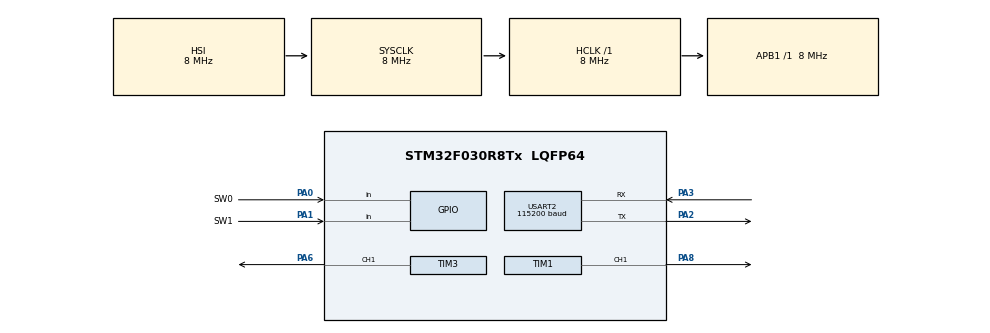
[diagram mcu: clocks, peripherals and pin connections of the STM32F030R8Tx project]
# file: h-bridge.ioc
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Mcu.Family=STM32F0
Mcu.Name=STM32F030R8Tx
Mcu.Package=LQFP64
PA0.GPIO_Label=SW0
PA0.GPIO_PuPd=GPIO_PULLDOWN
PA0.Signal=GPIO_Input
PA1.GPIO_Label=SW1
PA1.GPIO_PuPd=GPIO_PULLDOWN
PA1.Signal=GPIO_Input
PA2.Mode=Asynchronous
PA2.Signal=USART2_TX
PA3.Mode=Asynchronous
PA3.Signal=USART2_RX
PA6.Signal=S_TIM3_CH1
PA8.Signal=S_TIM1_CH1
ProjectManager.HeapSize=0x200
ProjectManager.StackSize=0x400
ProjectManager.TargetToolchain=STM32CubeIDE
RCC.AHBFreq_Value=8000000
RCC.APB1Freq_Value=8000000
RCC.APB1TimFreq_Value=8000000
RCC.HCLKFreq_Value=8000000
RCC.SYSCLKFreq_VALUE=8000000
SH.S_TIM1_CH1.0=TIM1_CH1,PWM Generation1 CH1
SH.S_TIM3_CH1.0=TIM3_CH1,PWM Generation1 CH1
TIM1.Channel-PWM\ Generation1\ CH1=TIM_CHANNEL_1
TIM1.Period=255
TIM1.Pulse-PWM\ Generation1\ CH1=0
TIM3.AutoReloadPreload=TIM_AUTORELOAD_PRELOAD_DISABLE
TIM3.Channel-PWM\ Generation1\ CH1=TIM_CHANNEL_1
TIM3.Channel-PWM\ Generation3\ CH3=TIM_CHANNEL_3
TIM3.Period=255
TIM3.Prescaler=0
TIM3.Pulse-PWM\ Generation1\ CH1=0
USART2.BaudRate=115200
USART2.VirtualMode-Asynchronous=VM_ASYNC
VP_TIM1_VS_ClockSourceINT.Mode=Internal
VP_TIM3_VS_ClockSourceINT.Mode=Internal
board=custom

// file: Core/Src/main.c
/* USER CODE BEGIN Header */
/**
  ******************************************************************************
  * @file           : main.c
  * @brief          : Main program body
  ******************************************************************************
  * @attention
  *
  * Copyright (c) 2023 STMicroelectronics.
  * All rights reserved.
  *
  * This software is licensed under terms that can be found in the LICENSE file
  * in the root directory of this software component.
  * If no LICENSE file comes with this software, it is provided AS-IS.
  *
  ******************************************************************************
  */
/* USER CODE END Header */
#include "main.h"

/* USER CODE BEGIN Includes */
#include <stdio.h>
#include "math.h"
/* USER CODE END Includes */

TIM_HandleTypeDef htim1;
TIM_HandleTypeDef htim3;

UART_HandleTypeDef huart2;

void SystemClock_Config(void);
static void MX_GPIO_Init(void);
static void MX_TIM3_Init(void);
static void MX_USART2_UART_Init(void);
static void MX_TIM1_Init(void);

int main(void)
{
  /* USER CODE BEGIN 1 */
  setbuf(stdout, NULL);
  /* USER CODE END 1 */

  /* MCU Configuration--------------------------------------------------------*/

  /* Reset of all peripherals, Initializes the Flash interface and the Systick. */
  HAL_Init();

  /* Configure the system clock */
  SystemClock_Config();

  /* Initialize all configured peripherals */
  MX_GPIO_Init();
  MX_TIM3_Init();
  MX_USART2_UART_Init();
  MX_TIM1_Init();
  /* USER CODE BEGIN 2 */
  HAL_TIM_PWM_Start(&htim1, TIM_CHANNEL_1);
  HAL_TIM_PWM_Start(&htim3, TIM_CHANNEL_1);
  /* USER CODE END 2 */

  /* Infinite loop */
  /* USER CODE BEGIN WHILE */
  while (1)
  {
	uint8_t button_state0 = HAL_GPIO_ReadPin(SW0_GPIO_Port,SW0_Pin);
	uint8_t button_state1 = HAL_GPIO_ReadPin(SW1_GPIO_Port,SW1_Pin);

	if (button_state0 == 1) {
		__HAL_TIM_SET_COMPARE(&htim1, TIM_CHANNEL_1, 255);
	} else {
		__HAL_TIM_SET_COMPARE(&htim1, TIM_CHANNEL_1, 0);
	}

	if (button_state1 == 1) {
		__HAL_TIM_SET_COMPARE(&htim3, TIM_CHANNEL_1, 255);
	} else {
		__HAL_TIM_SET_COMPARE(&htim3, TIM_CHANNEL_1, 0);
	}
    /* USER CODE END WHILE */

  }
}

void SystemClock_Config(void)
{
  RCC_OscInitTypeDef RCC_OscInitStruct = {0};
  RCC_ClkInitTypeDef RCC_ClkInitStruct = {0};

  /** Initializes the RCC Oscillators according to the specified parameters
  * in the RCC_OscInitTypeDef structure.
  */
  RCC_OscInitStruct.OscillatorType = RCC_OSCILLATORTYPE_HSI;
  RCC_OscInitStruct.HSIState = RCC_HSI_ON;
  RCC_OscInitStruct.HSICalibrationValue = RCC_HSICALIBRATION_DEFAULT;
  RCC_OscInitStruct.PLL.PLLState = RCC_PLL_NONE;
  if (HAL_RCC_OscConfig(&RCC_OscInitStruct) != HAL_OK)
  {
    Error_Handler();
  }

  /** Initializes the CPU, AHB and APB buses clocks
  */
  RCC_ClkInitStruct.ClockType = RCC_CLOCKTYPE_HCLK|RCC_CLOCKTYPE_SYSCLK
                              |RCC_CLOCKTYPE_PCLK1;
  RCC_ClkInitStruct.SYSCLKSource = RCC_SYSCLKSOURCE_HSI;
  RCC_ClkInitStruct.AHBCLKDivider = RCC_SYSCLK_DIV1;
  RCC_ClkInitStruct.APB1CLKDivider = RCC_HCLK_DIV1;

  if (HAL_RCC_ClockConfig(&RCC_ClkInitStruct, FLASH_LATENCY_0) != HAL_OK)
  {
    Error_Handler();
  }
}

static void MX_TIM1_Init(void)
{

  TIM_ClockConfigTypeDef sClockSourceConfig = {0};
  TIM_MasterConfigTypeDef sMasterConfig = {0};
  TIM_OC_InitTypeDef sConfigOC = {0};
  TIM_BreakDeadTimeConfigTypeDef sBreakDeadTimeConfig = {0};

  htim1.Instance = TIM1;
  htim1.Init.Prescaler = 0;
  htim1.Init.CounterMode = TIM_COUNTERMODE_UP;
  htim1.Init.Period = 255;
  htim1.Init.ClockDivision = TIM_CLOCKDIVISION_DIV1;
  htim1.Init.RepetitionCounter = 0;
  htim1.Init.AutoReloadPreload = TIM_AUTORELOAD_PRELOAD_DISABLE;
  if (HAL_TIM_Base_Init(&htim1) != HAL_OK)
  {
    Error_Handler();
  }
  sClockSourceConfig.ClockSource = TIM_CLOCKSOURCE_INTERNAL;
  if (HAL_TIM_ConfigClockSource(&htim1, &sClockSourceConfig) != HAL_OK)
  {
    Error_Handler();
  }
  if (HAL_TIM_PWM_Init(&htim1) != HAL_OK)
  {
    Error_Handler();
  }
  sMasterConfig.MasterOutputTrigger = TIM_TRGO_RESET;
  sMasterConfig.MasterSlaveMode = TIM_MASTERSLAVEMODE_DISABLE;
  if (HAL_TIMEx_MasterConfigSynchronization(&htim1, &sMasterConfig) != HAL_OK)
  {
    Error_Handler();
  }
  sConfigOC.OCMode = TIM_OCMODE_PWM1;
  sConfigOC.Pulse = 0;
  sConfigOC.OCPolarity = TIM_OCPOLARITY_HIGH;
  sConfigOC.OCNPolarity = TIM_OCNPOLARITY_HIGH;
  sConfigOC.OCFastMode = TIM_OCFAST_DISABLE;
  sConfigOC.OCIdleState = TIM_OCIDLESTATE_RESET;
  sConfigOC.OCNIdleState = TIM_OCNIDLESTATE_RESET;
  if (HAL_TIM_PWM_ConfigChannel(&htim1, &sConfigOC, TIM_CHANNEL_1) != HAL_OK)
  {
    Error_Handler();
  }
  sBreakDeadTimeConfig.OffStateRunMode = TIM_OSSR_DISABLE;
  sBreakDeadTimeConfig.OffStateIDLEMode = TIM_OSSI_DISABLE;
  sBreakDeadTimeConfig.LockLevel = TIM_LOCKLEVEL_OFF;
  sBreakDeadTimeConfig.DeadTime = 0;
  sBreakDeadTimeConfig.BreakState = TIM_BREAK_DISABLE;
  sBreakDeadTimeConfig.BreakPolarity = TIM_BREAKPOLARITY_HIGH;
  sBreakDeadTimeConfig.AutomaticOutput = TIM_AUTOMATICOUTPUT_DISABLE;
  if (HAL_TIMEx_ConfigBreakDeadTime(&htim1, &sBreakDeadTimeConfig) != HAL_OK)
  {
    Error_Handler();
  }
  HAL_TIM_MspPostInit(&htim1);

}

static void MX_TIM3_Init(void)
{

  TIM_ClockConfigTypeDef sClockSourceConfig = {0};
  TIM_MasterConfigTypeDef sMasterConfig = {0};
  TIM_OC_InitTypeDef sConfigOC = {0};

  htim3.Instance = TIM3;
  htim3.Init.Prescaler = 0;
  htim3.Init.CounterMode = TIM_COUNTERMODE_UP;
  htim3.Init.Period = 255;
  htim3.Init.ClockDivision = TIM_CLOCKDIVISION_DIV1;
  htim3.Init.AutoReloadPreload = TIM_AUTORELOAD_PRELOAD_DISABLE;
  if (HAL_TIM_Base_Init(&htim3) != HAL_OK)
  {
    Error_Handler();
  }
  sClockSourceConfig.ClockSource = TIM_CLOCKSOURCE_INTERNAL;
  if (HAL_TIM_ConfigClockSource(&htim3, &sClockSourceConfig) != HAL_OK)
  {
    Error_Handler();
  }
  if (HAL_TIM_PWM_Init(&htim3) != HAL_OK)
  {
    Error_Handler();
  }
  sMasterConfig.MasterOutputTrigger = TIM_TRGO_RESET;
  sMasterConfig.MasterSlaveMode = TIM_MASTERSLAVEMODE_DISABLE;
  if (HAL_TIMEx_MasterConfigSynchronization(&htim3, &sMasterConfig) != HAL_OK)
  {
    Error_Handler();
  }
  sConfigOC.OCMode = TIM_OCMODE_PWM1;
  sConfigOC.Pulse = 0;
  sConfigOC.OCPolarity = TIM_OCPOLARITY_HIGH;
  sConfigOC.OCFastMode = TIM_OCFAST_DISABLE;
  if (HAL_TIM_PWM_ConfigChannel(&htim3, &sConfigOC, TIM_CHANNEL_1) != HAL_OK)
  {
    Error_Handler();
  }
  HAL_TIM_MspPostInit(&htim3);

}

static void MX_USART2_UART_Init(void)
{

  huart2.Instance = USART2;
  huart2.Init.BaudRate = 115200;
  huart2.Init.WordLength = UART_WORDLENGTH_8B;
  huart2.Init.StopBits = UART_STOPBITS_1;
  huart2.Init.Parity = UART_PARITY_NONE;
  huart2.Init.Mode = UART_MODE_TX_RX;
  huart2.Init.HwFlowCtl = UART_HWCONTROL_NONE;
  huart2.Init.OverSampling = UART_OVERSAMPLING_16;
  huart2.Init.OneBitSampling = UART_ONE_BIT_SAMPLE_DISABLE;
  huart2.AdvancedInit.AdvFeatureInit = UART_ADVFEATURE_NO_INIT;
  if (HAL_UART_Init(&huart2) != HAL_OK)
  {
    Error_Handler();
  }

}

static void MX_GPIO_Init(void)
{
  GPIO_InitTypeDef GPIO_InitStruct = {0};

  /* GPIO Ports Clock Enable */
  __HAL_RCC_GPIOA_CLK_ENABLE();

  /*Configure GPIO pins : SW0_Pin SW1_Pin */
  GPIO_InitStruct.Pin = SW0_Pin|SW1_Pin;
  GPIO_InitStruct.Mode = GPIO_MODE_INPUT;
  GPIO_InitStruct.Pull = GPIO_PULLDOWN;
  HAL_GPIO_Init(GPIOA, &GPIO_InitStruct);

}

/* USER CODE BEGIN 4 */
int _write(int file, char *ptr, int len)
{
  HAL_UART_Transmit(&huart2,(uint8_t *)ptr, len, 10);
  return len;
}
/* USER CODE END 4 */

void Error_Handler(void)
{
  __disable_irq();
  while (1)
  {
  }
}
